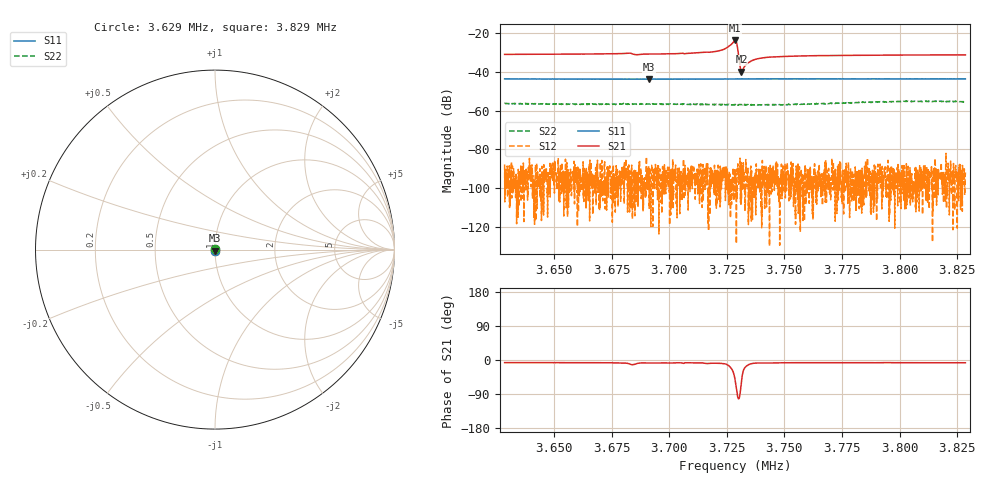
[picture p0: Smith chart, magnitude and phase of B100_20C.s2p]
# Hz S dB R 50.000
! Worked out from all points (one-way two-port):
!   6401 points, 3.629 MHz to 3.829 MHz, reference 50 ohm
!   highest |S21| = -23.63 dB at 3.729 MHz (marker M1); lowest = -39.7 dB at 3.731 MHz (marker M2)
!   lowest |S11| = -43.7 dB at 3.691 MHz (marker M3), VSWR 1.01, Z = 49.9 - j0.647 ohm
!   |S11| at or under -10 dB: start of sweep to end of sweep
!   |S22| runs from -57.1 to -54.9 dB; largest |S21 - S12| = 0.066
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3628594  -43.48 -98.0  -30.82 -6.9  -87.74 133.4  -56.28 97.8
3661938  -43.59 -97.9  -30.65 -7.1  -95.71 -72.1  -56.54 99.2
3682438  -43.65 -97.8  -30.17 -9.4  -91.44 43.3  -56.48 100.4
3685750  -43.61 -97.9  -31.00 -9.8  -98.22 -84.9  -56.64 101.6
3691250  -43.69 -97.6  -30.61 -8.1  -90.51 32.2  -56.50 102.4
3695282  -43.61 -97.8  -30.63 -8.1  -91.97 168.2  -56.60 101.9
3707313  -43.59 -97.7  -30.37 -7.1  -94.92 64.2  -56.63 103.4
3720282  -43.55 -97.6  -29.30 -8.6  -103.32 75.4  -56.89 103.3
3724094  -43.52 -97.6  -28.01 -10.0  -91.63 -15.7  -56.76 102.8
3728032  -43.52 -97.7  -24.33 -35.7  -100.55 -167.1  -56.85 103.6
3728594  -43.56 -97.4  -23.63 -51.0  -90.30 -56.8  -56.82 103.7
3729000  -43.54 -97.5  -23.94 -66.5  -104.37 -10.3  -56.92 103.8
3729375  -43.54 -97.6  -25.21 -83.4  -98.36 -82.9  -56.81 103.9
3730750  -43.51 -97.6  -37.14 -90.7  -86.07 29.9  -56.77 103.2
3731406  -43.48 -97.6  -39.73 -56.3  -95.19 176.7  -56.75 103.1
3731969  -43.55 -97.5  -38.80 -34.0  -99.15 42.6  -56.79 102.4
3733563  -43.52 -97.5  -35.87 -16.1  -89.94 165.1  -56.83 101.3
3735250  -43.52 -97.5  -34.48 -10.3  -94.33 40.7  -56.94 103.4
3739250  -43.51 -97.6  -32.89 -7.8  -92.99 -94.7  -56.84 103.5
3761938  -43.47 -97.6  -31.53 -7.1  -102.94 -91.9  -56.40 98.8
3795282  -43.48 -98.0  -31.22 -6.8  -100.34 79.4  -55.33 95.2
3828594  -43.48 -97.7  -31.09 -7.3  -91.88 -38.4  -55.26 96.3
